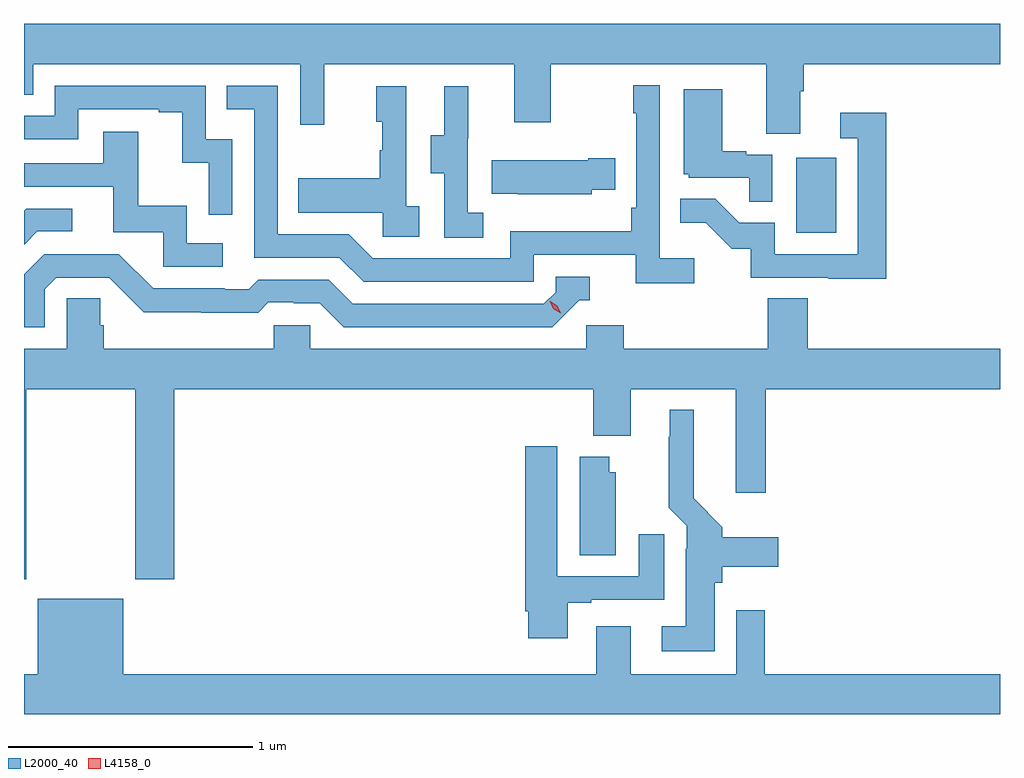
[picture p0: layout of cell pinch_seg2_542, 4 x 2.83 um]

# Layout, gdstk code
import gdstk
lib = gdstk.Library(unit=1e-6, precision=1e-09)
def R(c, l, rs):  # rectangles x0, y0, x1, y1
    for r in rs: c.add(gdstk.rectangle(r[:2], r[2:], *l))
def P(c, l, *ps):  # polygons
    for p in ps: c.add(gdstk.Polygon(p, *l))
L2000_40 = (2000, 40)
L4158_0 = (4158, 0)

pinch_seg2_542 = lib.new_cell('pinch_seg2_542')
R(pinch_seg2_542, L2000_40, [(1140.164,616.308,1140.328,616.615)])
P(pinch_seg2_542, L2000_40, [(1140.181,616.888),(1140.194,616.888),(1140.194,617),(1140.999,617),(1140.999,617.164),(1136.999,617.164),(1136.999,616.873),(1137.036,616.873),(1137.036,617),(1138.131,617),(1138.131,616.752),(1138.229,616.752),(1138.229,617),(1139.009,617),(1139.009,616.761),(1139.157,616.761),(1139.157,617),(1140.041,617),(1140.041,616.714),(1140.181,616.714)],
  [(1139.746,616.204),(1139.604,616.204),(1139.604,616.912),(1139.496,616.912),(1139.496,616.799),(1139.508,616.799),(1139.508,616.411),(1139.488,616.411),(1139.488,616.315),(1138.992,616.315),(1138.992,616.203),(1138.428,616.203),(1138.329,616.302),(1138.038,616.302),(1138.038,616.911),(1137.829,616.911),(1137.829,616.815),(1137.942,616.815),(1137.942,616.206),(1138.292,616.206),(1138.391,616.107),(1139.088,616.107),(1139.088,616.218),(1139.507,616.218),(1139.507,616.102),(1139.746,616.102)],
  [(1137.852,616.692),(1137.744,616.692),(1137.744,616.911),(1137.126,616.911),(1137.126,616.788),(1136.999,616.788),(1136.999,616.692),(1137.222,616.692),(1137.222,616.815),(1137.551,616.815),(1137.551,616.803),(1137.647,616.803),(1137.647,616.595),(1137.756,616.595),(1137.756,616.383),(1137.852,616.383)],
  [(1138.882,616.391),(1138.818,616.391),(1138.818,616.695),(1138.82,616.695),(1138.82,616.909),(1138.721,616.909),(1138.721,616.707),(1138.667,616.707),(1138.667,616.552),(1138.722,616.552),(1138.722,616.288),(1138.882,616.288)],
  [(1138.618,616.418),(1138.566,616.418),(1138.566,616.909),(1138.442,616.909),(1138.442,616.764),(1138.468,616.764),(1138.468,616.646),(1138.458,616.646),(1138.458,616.531),(1138.123,616.531),(1138.123,616.391),(1138.47,616.391),(1138.47,616.293),(1138.618,616.293)],
  [(1140.066,616.629),(1139.96,616.629),(1139.96,616.642),(1139.86,616.642),(1139.86,616.897),(1139.702,616.897),(1139.702,616.548),(1139.724,616.548),(1139.724,616.533),(1139.971,616.533),(1139.971,616.435),(1140.066,616.435)],
  [(1140.533,616.801),(1140.345,616.801),(1140.345,616.695),(1140.417,616.695),(1140.417,616.221),(1140.075,616.221),(1140.075,616.35),(1139.931,616.35),(1139.833,616.448),(1139.689,616.448),(1139.689,616.349),(1139.793,616.349),(1139.9,616.242),(1139.977,616.242),(1139.977,616.125),(1140.295,616.125),(1140.295,616.12),(1140.533,616.12)],
  [(1137.814,616.266),(1137.666,616.266),(1137.666,616.42),(1137.467,616.42),(1137.467,616.723),(1137.323,616.723),(1137.323,616.593),(1136.999,616.593),(1136.999,616.497),(1137.365,616.497),(1137.365,616.311),(1137.57,616.311),(1137.57,616.17),(1137.814,616.17)],
  [(1139.325,616.484),(1139.423,616.484),(1139.423,616.614),(1139.312,616.614),(1139.312,616.606),(1138.915,616.606),(1138.915,616.469),(1139.023,616.469),(1139.023,616.466),(1139.325,616.466)],
  [(1137.054,616.314),(1137.196,616.314),(1137.196,616.407),(1137.008,616.407),(1136.999,616.398),(1136.999,616.259)],
  [(1137.084,616.077),(1137.132,616.125),(1137.348,616.125),(1137.49,615.983),(1137.726,615.983),(1137.726,615.981),(1137.959,615.981),(1138.001,616.023),(1138.104,616.023),(1138.104,616.02),(1138.211,616.02),(1138.31,615.921),(1139.163,615.921),(1139.274,616.032),(1139.317,616.032),(1139.317,616.128),(1139.178,616.128),(1139.178,616.065),(1139.13,616.017),(1138.347,616.017),(1138.248,616.116),(1137.959,616.116),(1137.92,616.077),(1137.821,616.077),(1137.821,616.08),(1137.528,616.08),(1137.387,616.221),(1137.081,616.221),(1136.999,616.139),(1136.999,615.921),(1137.084,615.921)],
  [(1137.009,615.668),(1137.454,615.668),(1137.454,614.889),(1137.614,614.889),(1137.614,615.668),(1139.333,615.668),(1139.333,615.476),(1139.485,615.476),(1139.485,615.668),(1139.915,615.668),(1139.915,615.243),(1140.038,615.243),(1140.038,615.668),(1140.999,615.668),(1140.999,615.832),(1140.212,615.832),(1140.212,616.04),(1140.047,616.04),(1140.047,615.832),(1139.456,615.832),(1139.456,615.93),(1139.304,615.93),(1139.304,615.832),(1138.173,615.832),(1138.173,615.93),(1138.023,615.93),(1138.023,615.832),(1137.326,615.832),(1137.326,615.93),(1137.311,615.93),(1137.311,616.04),(1137.174,616.04),(1137.174,615.832),(1136.999,615.832),(1136.999,614.889),(1137.009,614.889)],
  [(1139.83,614.874),(1139.861,614.874),(1139.861,614.939),(1140.091,614.939),(1140.091,615.061),(1139.861,615.061),(1139.861,615.102),(1139.743,615.22),(1139.743,615.583),(1139.645,615.583),(1139.645,615.473),(1139.641,615.473),(1139.641,615.182),(1139.715,615.108),(1139.715,615.014),(1139.711,615.014),(1139.711,614.695),(1139.613,614.695),(1139.613,614.594),(1139.83,614.594)],
  [(1139.227,614.793),(1139.323,614.793),(1139.323,614.805),(1139.623,614.805),(1139.623,615.073),(1139.519,615.073),(1139.519,614.901),(1139.185,614.901),(1139.185,615.433),(1139.054,615.433),(1139.054,614.758),(1139.066,614.758),(1139.066,614.646),(1139.227,614.646)],
  [(1139.425,615.327),(1139.398,615.327),(1139.398,615.391),(1139.276,615.391),(1139.276,614.986),(1139.425,614.986)],
  [(1140.999,614.5),(1140.035,614.5),(1140.035,614.761),(1139.919,614.761),(1139.919,614.5),(1139.485,614.5),(1139.485,614.695),(1139.345,614.695),(1139.345,614.5),(1137.406,614.5),(1137.406,614.809),(1137.056,614.809),(1137.056,614.5),(1136.999,614.5),(1136.999,614.336),(1140.999,614.336)])
P(pinch_seg2_542, L4158_0, [(1139.199,615.978),(1139.169,615.997),(1139.153,616.03),(1139.153,616.03),(1139.154,616.03),(1139.184,616.01),(1139.199,615.978),(1139.199,615.978)])

lib.write_gds('pinch_seg2_542.gds')
